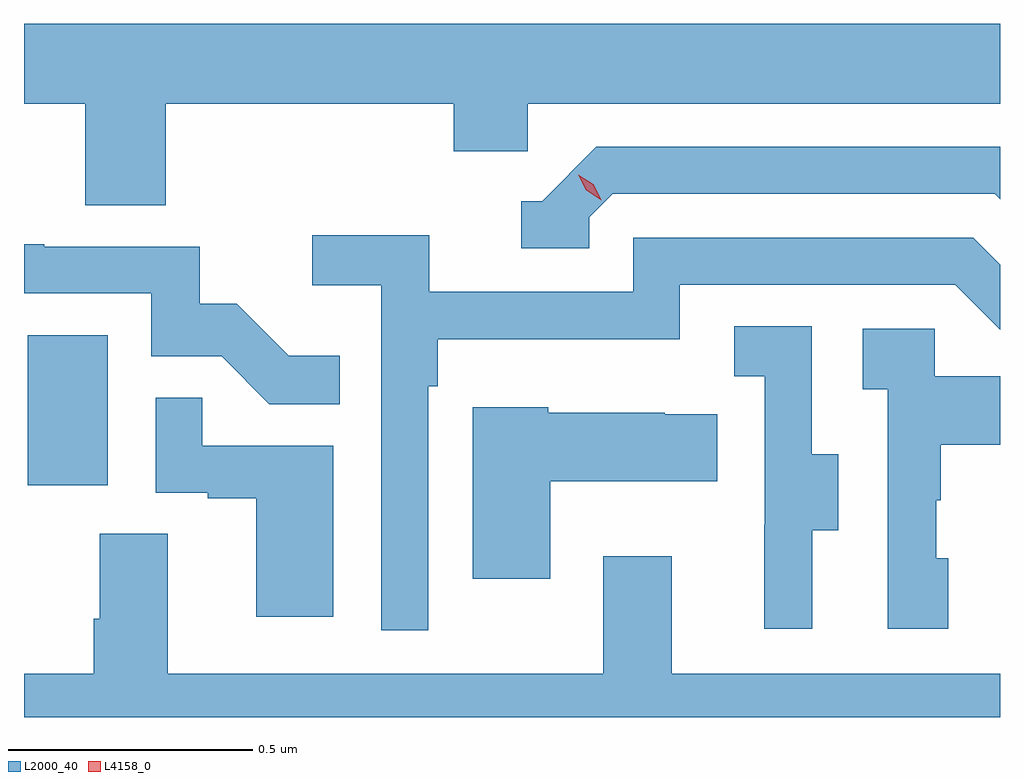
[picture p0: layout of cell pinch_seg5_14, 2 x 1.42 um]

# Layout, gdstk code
import gdstk
lib = gdstk.Library(unit=1e-6, precision=1e-09)
def R(c, l, rs):  # rectangles x0, y0, x1, y1
    for r in rs: c.add(gdstk.rectangle(r[:2], r[2:], *l))
def P(c, l, *ps):  # polygons
    for p in ps: c.add(gdstk.Polygon(p, *l))
L2000_40 = (2000, 40)
L4158_0 = (4158, 0)

pinch_seg5_14 = lib.new_cell('pinch_seg5_14')
R(pinch_seg5_14, L2000_40, [(1125.026,913.254,1125.19,913.561)])
P(pinch_seg5_14, L2000_40, [(1125.308,914.036),(1125.899,914.036),(1125.899,913.938),(1126.05,913.938),(1126.05,914.036),(1127.018,914.036),(1127.018,914.2),(1125.018,914.2),(1125.018,914.036),(1125.143,914.036),(1125.143,913.828),(1125.308,913.828)],
  [(1126.176,913.803),(1126.224,913.851),(1127.007,913.851),(1127.018,913.84),(1127.018,913.947),(1126.191,913.947),(1126.08,913.836),(1126.037,913.836),(1126.037,913.74),(1126.176,913.74)],
  [(1125.846,913.457),(1125.866,913.457),(1125.866,913.553),(1126.362,913.553),(1126.362,913.665),(1126.926,913.665),(1127.018,913.573),(1127.018,913.706),(1126.963,913.761),(1126.266,913.761),(1126.266,913.65),(1125.848,913.65),(1125.848,913.766),(1125.609,913.766),(1125.609,913.664),(1125.75,913.664),(1125.75,912.957),(1125.846,912.957)],
  [(1125.665,913.519),(1125.561,913.519),(1125.454,913.626),(1125.378,913.626),(1125.378,913.743),(1125.059,913.743),(1125.059,913.748),(1125.018,913.748),(1125.018,913.647),(1125.279,913.647),(1125.279,913.518),(1125.423,913.518),(1125.521,913.42),(1125.665,913.42)],
  [(1126.633,913.162),(1126.687,913.162),(1126.687,913.317),(1126.632,913.317),(1126.632,913.58),(1126.473,913.58),(1126.473,913.477),(1126.536,913.477),(1126.536,913.173),(1126.535,913.173),(1126.535,912.96),(1126.633,912.96)],
  [(1126.912,913.104),(1126.887,913.104),(1126.887,913.223),(1126.897,913.223),(1126.897,913.337),(1127.018,913.337),(1127.018,913.477),(1126.884,913.477),(1126.884,913.575),(1126.737,913.575),(1126.737,913.451),(1126.788,913.451),(1126.788,912.96),(1126.912,912.96)],
  [(1125.652,913.335),(1125.383,913.335),(1125.383,913.433),(1125.288,913.433),(1125.288,913.239),(1125.395,913.239),(1125.395,913.227),(1125.494,913.227),(1125.494,912.984),(1125.652,912.984)],
  [(1126.096,913.262),(1126.439,913.262),(1126.439,913.399),(1126.331,913.399),(1126.331,913.402),(1126.092,913.402),(1126.092,913.414),(1125.938,913.414),(1125.938,913.062),(1126.096,913.062)],
  [(1127.018,912.868),(1126.345,912.868),(1126.345,913.108),(1126.205,913.108),(1126.205,912.868),(1125.313,912.868),(1125.313,913.154),(1125.173,913.154),(1125.173,912.98),(1125.161,912.98),(1125.161,912.868),(1125.018,912.868),(1125.018,912.778),(1127.018,912.778)])
P(pinch_seg5_14, L4158_0, [(1126.201,913.838),(1126.17,913.858),(1126.154,913.89),(1126.154,913.89),(1126.154,913.89),(1126.185,913.871),(1126.201,913.839),(1126.201,913.838)])

lib.write_gds('pinch_seg5_14.gds')
